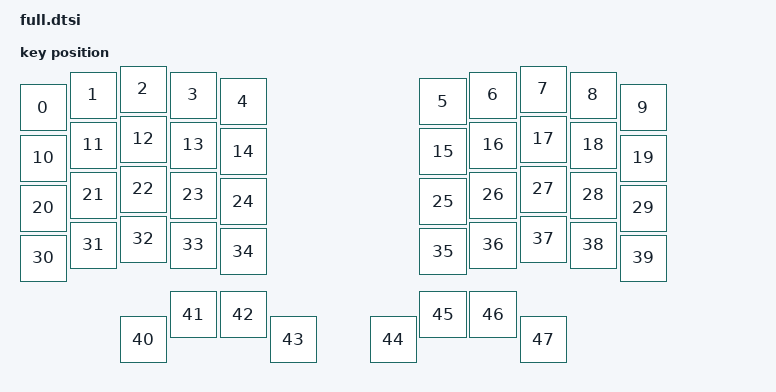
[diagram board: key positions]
#include <physical_layouts.dtsi>
#include "position_map.dtsi"


/ {
    kordiseps48_full_layout: kordiseps48_full_layout {
        compatible = "zmk,physical-layout";
        display-name = "LAYOUT";

        kscan = <&kscan0>;
        transform = <&matrix_transform0>;

        keys  //                     w   h    x    y     rot    rx    ry
            = <&key_physical_attrs 100 100    0   37       0     0     0>
            , <&key_physical_attrs 100 100  100   12       0     0     0>
            , <&key_physical_attrs 100 100  200    0       0     0     0>
            , <&key_physical_attrs 100 100  300   12       0     0     0>
            , <&key_physical_attrs 100 100  400   25       0     0     0>
            , <&key_physical_attrs 100 100  800   25       0     0     0>
            , <&key_physical_attrs 100 100  900   12       0     0     0>
            , <&key_physical_attrs 100 100 1000    0       0     0     0>
            , <&key_physical_attrs 100 100 1100   12       0     0     0>
            , <&key_physical_attrs 100 100 1200   37       0     0     0>
            , <&key_physical_attrs 100 100    0  138       0     0     0>
            , <&key_physical_attrs 100 100  100  112       0     0     0>
            , <&key_physical_attrs 100 100  200  100       0     0     0>
            , <&key_physical_attrs 100 100  300  112       0     0     0>
            , <&key_physical_attrs 100 100  400  125       0     0     0>
            , <&key_physical_attrs 100 100  800  125       0     0     0>
            , <&key_physical_attrs 100 100  900  112       0     0     0>
            , <&key_physical_attrs 100 100 1000  100       0     0     0>
            , <&key_physical_attrs 100 100 1100  112       0     0     0>
            , <&key_physical_attrs 100 100 1200  138       0     0     0>
            , <&key_physical_attrs 100 100    0  238       0     0     0>
            , <&key_physical_attrs 100 100  100  212       0     0     0>
            , <&key_physical_attrs 100 100  200  200       0     0     0>
            , <&key_physical_attrs 100 100  300  212       0     0     0>
            , <&key_physical_attrs 100 100  400  225       0     0     0>
            , <&key_physical_attrs 100 100  800  225       0     0     0>
            , <&key_physical_attrs 100 100  900  212       0     0     0>
            , <&key_physical_attrs 100 100 1000  200       0     0     0>
            , <&key_physical_attrs 100 100 1100  212       0     0     0>
            , <&key_physical_attrs 100 100 1200  238       0     0     0>
            , <&key_physical_attrs 100 100    0  338       0     0     0>
            , <&key_physical_attrs 100 100  100  312       0     0     0>
            , <&key_physical_attrs 100 100  200  300       0     0     0>
            , <&key_physical_attrs 100 100  300  312       0     0     0>
            , <&key_physical_attrs 100 100  400  325       0     0     0>
            , <&key_physical_attrs 100 100  800  325       0     0     0>
            , <&key_physical_attrs 100 100  900  312       0     0     0>
            , <&key_physical_attrs 100 100 1000  300       0     0     0>
            , <&key_physical_attrs 100 100 1100  312       0     0     0>
            , <&key_physical_attrs 100 100 1200  338       0     0     0>
            , <&key_physical_attrs 100 100  200  501       0     0     0>
            , <&key_physical_attrs 100 100  300  451       0     0     0>
            , <&key_physical_attrs 100 100  400  451       0     0     0>
            , <&key_physical_attrs 100 100  500  501       0     0     0>
            , <&key_physical_attrs 100 100  700  501       0     0     0>
            , <&key_physical_attrs 100 100  800  451       0     0     0>
            , <&key_physical_attrs 100 100  900  451       0     0     0>
            , <&key_physical_attrs 100 100 1000  501       0     0     0>
            ;
    };
};



&layouts_kordiseps48_position_map {
    kordiseps48_full_posmap: full {
        physical-layout = <&kordiseps48_full_layout>;
        positions
            = <   0  1  2  3  4       5  6  7  8   9>
            , <   10 11 12 13 14      15 16 17 18 19>
            , <   20 21 22 23 24      25 26 27 28 29>
            , <   30 31 32 33 34      35 36 37 38 39>
            , <       40 41 42 43   44 45 46 47 >;
    };
};

